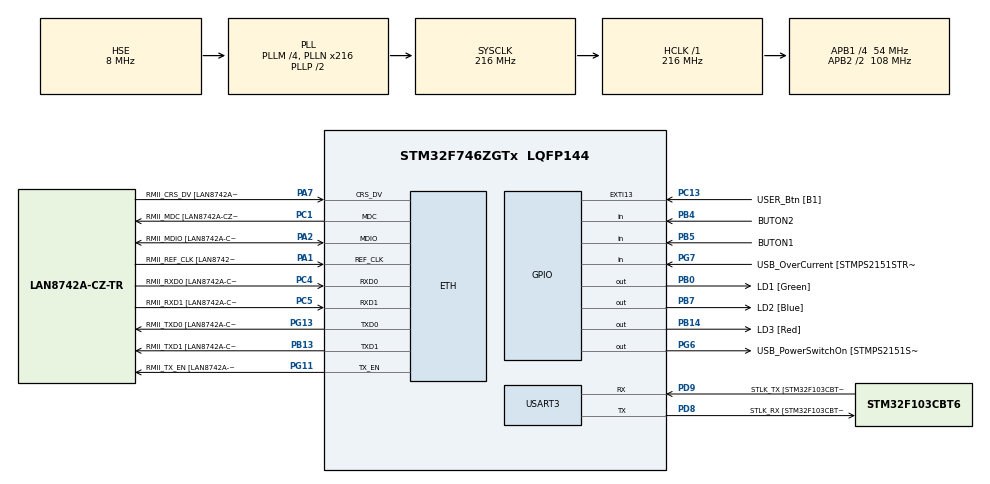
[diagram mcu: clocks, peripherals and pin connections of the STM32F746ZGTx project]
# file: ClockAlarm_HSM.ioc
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ETH.MediaInterface=ETH_MEDIA_INTERFACE_RMII
ETH.PHY_Name=LAN8742A_PHY_ADDRESS
ETH.PHY_Value=0
ETH.PhyAddress=0
Mcu.Family=STM32F7
Mcu.Name=STM32F746ZGTx
Mcu.Package=LQFP144
NVIC.PriorityGroup=NVIC_PRIORITYGROUP_4
NVIC.TIM6_DAC_IRQn=true\:0\:0\:false\:false\:true\:true\:true\:true
PA1.GPIO_Label=RMII_REF_CLK [LAN8742A-CZ-TR_REFCLK0]
PA1.Mode=RMII
PA1.Signal=ETH_REF_CLK
PA13.GPIO_Label=TMS
PA13.Mode=Trace_Asynchronous_SW
PA13.Signal=SYS_JTMS-SWDIO
PA14.GPIO_Label=TCK
PA14.Mode=Trace_Asynchronous_SW
PA14.Signal=SYS_JTCK-SWCLK
PA2.GPIO_Label=RMII_MDIO [LAN8742A-CZ-TR_MDIO]
PA2.Mode=RMII
PA2.Signal=ETH_MDIO
PA7.GPIO_Label=RMII_CRS_DV [LAN8742A-CZ-TR_CRS_DV]
PA7.Mode=RMII
PA7.Signal=ETH_CRS_DV
PB0.GPIO_Label=LD1 [Green]
PB0.Signal=GPIO_Output
PB13.GPIO_Label=RMII_TXD1 [LAN8742A-CZ-TR_TXD1]
PB13.Mode=RMII
PB13.Signal=ETH_TXD1
PB14.GPIO_Label=LD3 [Red]
PB14.Signal=GPIO_Output
PB3.GPIO_Label=SW0
PB3.Mode=Trace_Asynchronous_SW
PB3.Signal=SYS_JTDO-SWO
PB4.GPIO_Label=BUTON2
PB4.GPIO_PuPd=GPIO_PULLDOWN
PB4.Signal=GPIO_Input
PB5.GPIO_Label=BUTON1
PB5.GPIO_PuPd=GPIO_PULLDOWN
PB5.Signal=GPIO_Input
PB7.GPIO_Label=LD2 [Blue]
PB7.Signal=GPIO_Output
PC1.GPIO_Label=RMII_MDC [LAN8742A-CZ-TR_MDC]
PC1.Mode=RMII
PC1.Signal=ETH_MDC
PC13.GPIO_Label=USER_Btn [B1]
PC13.Signal=GPXTI13
PC14/OSC32_IN.Mode=LSE-External-Oscillator
PC14/OSC32_IN.Signal=RCC_OSC32_IN
PC15/OSC32_OUT.Mode=LSE-External-Oscillator
PC15/OSC32_OUT.Signal=RCC_OSC32_OUT
PC4.GPIO_Label=RMII_RXD0 [LAN8742A-CZ-TR_RXD0]
PC4.Mode=RMII
PC4.Signal=ETH_RXD0
PC5.GPIO_Label=RMII_RXD1 [LAN8742A-CZ-TR_RXD1]
PC5.Mode=RMII
PC5.Signal=ETH_RXD1
PD8.GPIO_Label=STLK_RX [STM32F103CBT6_PA3]
PD8.Mode=Asynchronous
PD8.Signal=USART3_TX
PD9.GPIO_Label=STLK_TX [STM32F103CBT6_PA2]
PD9.Mode=Asynchronous
PD9.Signal=USART3_RX
PG11.GPIO_Label=RMII_TX_EN [LAN8742A-CZ-TR_TXEN]
PG11.Mode=RMII
PG11.Signal=ETH_TX_EN
PG13.GPIO_Label=RMII_TXD0 [LAN8742A-CZ-TR_TXD0]
PG13.Mode=RMII
PG13.Signal=ETH_TXD0
PG6.GPIO_Label=USB_PowerSwitchOn [STMPS2151STR_EN]
PG6.Signal=GPIO_Output
PG7.GPIO_Label=USB_OverCurrent [STMPS2151STR_FAULT]
PG7.Signal=GPIO_Input
PH0/OSC_IN.GPIO_Label=MCO [STM32F103CBT6_PA8]
PH0/OSC_IN.Mode=HSE-External-Clock-Source
PH0/OSC_IN.Signal=RCC_OSC_IN
PH1/OSC_OUT.Mode=HSE-External-Clock-Source
PH1/OSC_OUT.Signal=RCC_OSC_OUT
ProjectManager.HeapSize=0x200
ProjectManager.StackSize=0x400
ProjectManager.TargetToolchain=STM32CubeIDE
RCC.48MHZClocksFreq_Value=24000000
RCC.AHBFreq_Value=216000000
RCC.APB1CLKDivider=RCC_HCLK_DIV4
RCC.APB1Freq_Value=54000000
RCC.APB1TimFreq_Value=108000000
RCC.APB2CLKDivider=RCC_HCLK_DIV2
RCC.APB2Freq_Value=108000000
RCC.APB2TimFreq_Value=216000000
RCC.CortexFreq_Value=216000000
RCC.HCLKFreq_Value=216000000
RCC.HSE_VALUE=8000000
RCC.HSI_VALUE=16000000
RCC.PLLM=4
RCC.PLLMUL=RCC_PLL_MUL9
RCC.PLLN=216
RCC.PLLQ=3
RCC.PLLSourceVirtual=RCC_PLLSOURCE_HSE
RCC.PRESCALERUSB=RCC_USBCLKSOURCE_PLL_DIV1_5
RCC.SYSCLKFreq_VALUE=216000000
RCC.SYSCLKSource=RCC_SYSCLKSOURCE_PLLCLK
RCC.SYSCLKSourceVirtual=RCC_SYSCLKSOURCE_PLLCLK
RCC.USBFreq_Value=144000000
RCC.VCOOutputFreq_Value=432000000
TIM6.Period=6250-1
TIM6.Prescaler=864-1
USART3.VirtualMode-Asynchronous=VM_ASYNC
VP_TIM6_VS_ClockSourceINT.Mode=Enable_Timer
board=NUCLEO-F746ZG

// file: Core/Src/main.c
/* USER CODE BEGIN Header */
/**
  ******************************************************************************
  * @file           : main.c
  * @brief          : Main program body
  ******************************************************************************
  * @attention
  *
  * Copyright (c) 2022 STMicroelectronics.
  * All rights reserved.
  *
  * This software is licensed under terms that can be found in the LICENSE file
  * in the root directory of this software component.
  * If no LICENSE file comes with this software, it is provided AS-IS.
  *
  ******************************************************************************
  */
/* USER CODE END Header */
#include "main.h"

/* USER CODE BEGIN Includes */
#include "retarget.h"
#include "qpc.h"
#include "ClockAlarm_SM.h"
#include "stdio.h"

Q_DEFINE_THIS_FILE;
/* USER CODE END Includes */

ETH_HandleTypeDef heth;

TIM_HandleTypeDef htim6;

UART_HandleTypeDef huart3;

void SystemClock_Config(void);
static void MX_GPIO_Init(void);
static void MX_ETH_Init(void);
static void MX_USART3_UART_Init(void);
static void MX_TIM6_Init(void);
/* USER CODE BEGIN PFP */
static uint8_t process_button_pad_value(uint8_t btn_pad_value);
/* USER CODE END PFP */

int main(void)
{
  /* USER CODE BEGIN 1 */
	QEvt ee;
	static uint32_t tick_time = 0,alarm_time = 0;
  /* USER CODE END 1 */

  /* MCU Configuration--------------------------------------------------------*/

  /* Reset of all peripherals, Initializes the Flash interface and the Systick. */
  HAL_Init();

  /* Configure the system clock */
  SystemClock_Config();

  /* Initialize all configured peripherals */
  MX_GPIO_Init();
//  MX_ETH_Init();
  MX_USART3_UART_Init();
  MX_TIM6_Init();
  /* USER CODE BEGIN 2 */
  RetargetInit(&huart3);
  Clock_Alarm_ctor();
  QHSM_INIT(super_ClockAlarm,(void *)0,0);
  HAL_TIM_Base_Start_IT(&htim6);
  /* USER CODE END 2 */

  /* Infinite loop */
  while (1)
  {

    /* USER CODE BEGIN 3 */

	  uint8_t b1,b2,btn_pad_value;

	  b1 = HAL_GPIO_ReadPin(BUTON1_GPIO_Port,BUTON1_Pin);
	  b2 = HAL_GPIO_ReadPin(BUTON2_GPIO_Port,BUTON2_Pin);

	  btn_pad_value = (b1 << 1) | b2;

	  /* Software button debouncing */
	  btn_pad_value = process_button_pad_value(btn_pad_value);

	  if(btn_pad_value){

		  if(btn_pad_value == BTN_PAD_VALUE_SET){
			  ee.sig = (QSignal)SET_SIG;
		  }
		  else if(btn_pad_value == BTN_PAD_VALUE_OK){
			  ee.sig = (QSignal)OK_SIG;
		  }
		  else if(btn_pad_value == BTN_PAD_VALUE_ABRT){
			  ee.sig = (QSignal)ABRT_SIG;
		  }

		  //3. send it to event dispatcher
		  QHSM_DISPATCH(super_ClockAlarm, &ee, 0U);

	  }

	  while(HAL_GetTick() - tick_time > 50){
		  tick_time = HAL_GetTick();
		  ee.sig = (QSignal)TICK_SIG;
		  QHSM_DISPATCH(super_ClockAlarm, &ee, 0U);
	  }

	  while(HAL_GetTick() - alarm_time > 500){
		  alarm_time = HAL_GetTick();
		  ee.sig = (QSignal)ALARM_SIG;
		  QHSM_DISPATCH(super_ClockAlarm, &ee, 0U);
	  }

  }
  /* USER CODE END 3 */
}

void SystemClock_Config(void)
{
  RCC_OscInitTypeDef RCC_OscInitStruct = {0};
  RCC_ClkInitTypeDef RCC_ClkInitStruct = {0};

  /** Configure LSE Drive Capability
  */
  HAL_PWR_EnableBkUpAccess();

  /** Configure the main internal regulator output voltage
  */
  __HAL_RCC_PWR_CLK_ENABLE();
  __HAL_PWR_VOLTAGESCALING_CONFIG(PWR_REGULATOR_VOLTAGE_SCALE1);

  /** Initializes the RCC Oscillators according to the specified parameters
  * in the RCC_OscInitTypeDef structure.
  */
  RCC_OscInitStruct.OscillatorType = RCC_OSCILLATORTYPE_HSE;
  RCC_OscInitStruct.HSEState = RCC_HSE_BYPASS;
  RCC_OscInitStruct.PLL.PLLState = RCC_PLL_ON;
  RCC_OscInitStruct.PLL.PLLSource = RCC_PLLSOURCE_HSE;
  RCC_OscInitStruct.PLL.PLLM = 4;
  RCC_OscInitStruct.PLL.PLLN = 216;
  RCC_OscInitStruct.PLL.PLLP = RCC_PLLP_DIV2;
  RCC_OscInitStruct.PLL.PLLQ = 3;
  if (HAL_RCC_OscConfig(&RCC_OscInitStruct) != HAL_OK)
  {
    Error_Handler();
  }

  /** Activate the Over-Drive mode
  */
  if (HAL_PWREx_EnableOverDrive() != HAL_OK)
  {
    Error_Handler();
  }

  /** Initializes the CPU, AHB and APB buses clocks
  */
  RCC_ClkInitStruct.ClockType = RCC_CLOCKTYPE_HCLK|RCC_CLOCKTYPE_SYSCLK
                              |RCC_CLOCKTYPE_PCLK1|RCC_CLOCKTYPE_PCLK2;
  RCC_ClkInitStruct.SYSCLKSource = RCC_SYSCLKSOURCE_PLLCLK;
  RCC_ClkInitStruct.AHBCLKDivider = RCC_SYSCLK_DIV1;
  RCC_ClkInitStruct.APB1CLKDivider = RCC_HCLK_DIV4;
  RCC_ClkInitStruct.APB2CLKDivider = RCC_HCLK_DIV2;

  if (HAL_RCC_ClockConfig(&RCC_ClkInitStruct, FLASH_LATENCY_7) != HAL_OK)
  {
    Error_Handler();
  }
}

static void MX_ETH_Init(void)
{

   static uint8_t MACAddr[6];

  heth.Instance = ETH;
  heth.Init.AutoNegotiation = ETH_AUTONEGOTIATION_ENABLE;
  heth.Init.Speed = ETH_SPEED_100M;
  heth.Init.DuplexMode = ETH_MODE_FULLDUPLEX;
  heth.Init.PhyAddress = LAN8742A_PHY_ADDRESS;
  MACAddr[0] = 0x00;
  MACAddr[1] = 0x80;
  MACAddr[2] = 0xE1;
  MACAddr[3] = 0x00;
  MACAddr[4] = 0x00;
  MACAddr[5] = 0x00;
  heth.Init.MACAddr = &MACAddr[0];
  heth.Init.RxMode = ETH_RXPOLLING_MODE;
  heth.Init.ChecksumMode = ETH_CHECKSUM_BY_HARDWARE;
  heth.Init.MediaInterface = ETH_MEDIA_INTERFACE_RMII;

  if (HAL_ETH_Init(&heth) != HAL_OK)
  {
    Error_Handler();
  }

}

static void MX_TIM6_Init(void)
{

  TIM_MasterConfigTypeDef sMasterConfig = {0};

  htim6.Instance = TIM6;
  htim6.Init.Prescaler = (864-1) * 2;
  htim6.Init.CounterMode = TIM_COUNTERMODE_UP;
  htim6.Init.Period = 6250-1;
  htim6.Init.AutoReloadPreload = TIM_AUTORELOAD_PRELOAD_DISABLE;
  if (HAL_TIM_Base_Init(&htim6) != HAL_OK)
  {
    Error_Handler();
  }
  sMasterConfig.MasterOutputTrigger = TIM_TRGO_RESET;
  sMasterConfig.MasterSlaveMode = TIM_MASTERSLAVEMODE_DISABLE;
  if (HAL_TIMEx_MasterConfigSynchronization(&htim6, &sMasterConfig) != HAL_OK)
  {
    Error_Handler();
  }

}

static void MX_USART3_UART_Init(void)
{

  huart3.Instance = USART3;
  huart3.Init.BaudRate = 115200;
  huart3.Init.WordLength = UART_WORDLENGTH_8B;
  huart3.Init.StopBits = UART_STOPBITS_1;
  huart3.Init.Parity = UART_PARITY_NONE;
  huart3.Init.Mode = UART_MODE_TX_RX;
  huart3.Init.HwFlowCtl = UART_HWCONTROL_NONE;
  huart3.Init.OverSampling = UART_OVERSAMPLING_16;
  huart3.Init.OneBitSampling = UART_ONE_BIT_SAMPLE_DISABLE;
  huart3.AdvancedInit.AdvFeatureInit = UART_ADVFEATURE_NO_INIT;
  if (HAL_UART_Init(&huart3) != HAL_OK)
  {
    Error_Handler();
  }

}

static void MX_GPIO_Init(void)
{
  GPIO_InitTypeDef GPIO_InitStruct = {0};

  /* GPIO Ports Clock Enable */
  __HAL_RCC_GPIOC_CLK_ENABLE();
  __HAL_RCC_GPIOH_CLK_ENABLE();
  __HAL_RCC_GPIOA_CLK_ENABLE();
  __HAL_RCC_GPIOB_CLK_ENABLE();
  __HAL_RCC_GPIOD_CLK_ENABLE();
  __HAL_RCC_GPIOG_CLK_ENABLE();

  /*Configure GPIO pin Output Level */
  HAL_GPIO_WritePin(GPIOB, LD1_Pin|LD3_Pin|LD2_Pin, GPIO_PIN_RESET);

  /*Configure GPIO pin Output Level */
  HAL_GPIO_WritePin(USB_PowerSwitchOn_GPIO_Port, USB_PowerSwitchOn_Pin, GPIO_PIN_RESET);

  /*Configure GPIO pin : USER_Btn_Pin */
  GPIO_InitStruct.Pin = USER_Btn_Pin;
  GPIO_InitStruct.Mode = GPIO_MODE_IT_RISING;
  GPIO_InitStruct.Pull = GPIO_NOPULL;
  HAL_GPIO_Init(USER_Btn_GPIO_Port, &GPIO_InitStruct);

  /*Configure GPIO pins : LD1_Pin LD3_Pin LD2_Pin */
  GPIO_InitStruct.Pin = LD1_Pin|LD3_Pin|LD2_Pin;
  GPIO_InitStruct.Mode = GPIO_MODE_OUTPUT_PP;
  GPIO_InitStruct.Pull = GPIO_NOPULL;
  GPIO_InitStruct.Speed = GPIO_SPEED_FREQ_LOW;
  HAL_GPIO_Init(GPIOB, &GPIO_InitStruct);

  /*Configure GPIO pin : USB_PowerSwitchOn_Pin */
  GPIO_InitStruct.Pin = USB_PowerSwitchOn_Pin;
  GPIO_InitStruct.Mode = GPIO_MODE_OUTPUT_PP;
  GPIO_InitStruct.Pull = GPIO_NOPULL;
  GPIO_InitStruct.Speed = GPIO_SPEED_FREQ_LOW;
  HAL_GPIO_Init(USB_PowerSwitchOn_GPIO_Port, &GPIO_InitStruct);

  /*Configure GPIO pin : USB_OverCurrent_Pin */
  GPIO_InitStruct.Pin = USB_OverCurrent_Pin;
  GPIO_InitStruct.Mode = GPIO_MODE_INPUT;
  GPIO_InitStruct.Pull = GPIO_NOPULL;
  HAL_GPIO_Init(USB_OverCurrent_GPIO_Port, &GPIO_InitStruct);

  /*Configure GPIO pins : BUTON2_Pin BUTON1_Pin */
  GPIO_InitStruct.Pin = BUTON2_Pin|BUTON1_Pin;
  GPIO_InitStruct.Mode = GPIO_MODE_INPUT;
  GPIO_InitStruct.Pull = GPIO_PULLDOWN;
  HAL_GPIO_Init(GPIOB, &GPIO_InitStruct);

}

/* USER CODE BEGIN 4 */

static uint8_t process_button_pad_value(uint8_t btn_pad_value){

	static button_state_t btn_sm_state = NOT_PRESSED;
//	static uint32_t curr_time = HAL_GetTick();
	static uint32_t curr_time = 0;

	switch(btn_sm_state){

		case NOT_PRESSED:
		  if(btn_pad_value){
			  btn_sm_state = BOUNCE;
			  curr_time = HAL_GetTick();
		  }
		  break;

		case BOUNCE:
		  if(HAL_GetTick() - curr_time >= 50){
			  //50ms has passed
			  if(btn_pad_value){
				  btn_sm_state = PRESSED;
			  	  return btn_pad_value;
			  }
			  else
				  btn_sm_state = NOT_PRESSED;
		  }
		  break;

		case PRESSED:
		  if(!btn_pad_value){
			  btn_sm_state = BOUNCE;
			  curr_time = HAL_GetTick();
		  }
		  break;

	}

	return 0;
}

Q_NORETURN Q_onAssert	(	char_t const *const 	module, int_t const 	location){
	printf("Assertion FAilure!\n");
	printf("%s : %d \n",module,location);
	while(1);

}

/* USER CODE END 4 */

void Error_Handler(void)
{
  __disable_irq();
  while (1)
  {
  }
}
